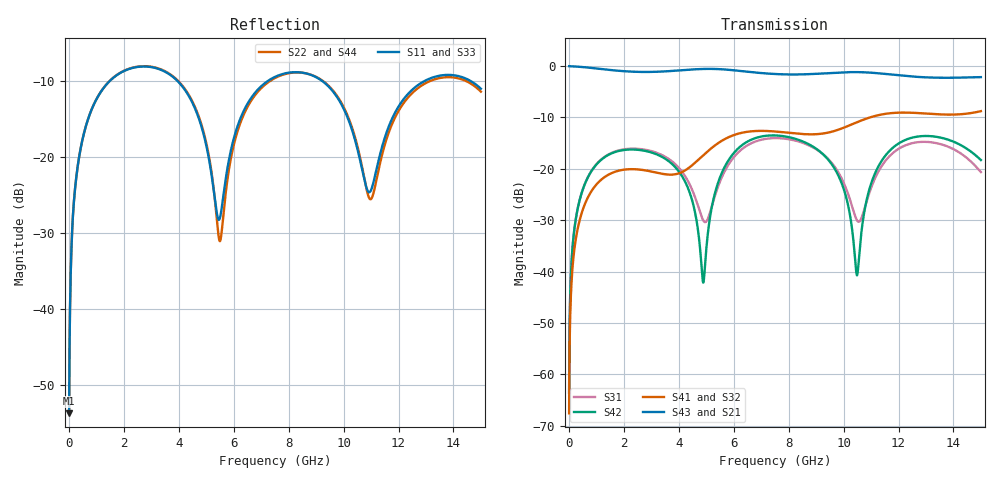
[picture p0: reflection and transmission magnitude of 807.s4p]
! Created with skrf 1.8.0 (http://scikit-rf.org).
# GHz S RI R 50.0
!freq ReS11 ImS11 ReS12 ImS12 ReS13 ImS13
! ReS14 ImS14
! ReS21 ImS21 ReS22 ImS22 ReS23 ImS23
! ReS24 ImS24
! ReS31 ImS31 ReS32 ImS32 ReS33 ImS33
! ReS34 ImS34
! ReS41 ImS41 ReS42 ImS42 ReS43 ImS43
! ReS44 ImS44
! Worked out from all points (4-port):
!   2499 points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, 5 MHz to 15 GHz, reference 50 ohm
!   strongest paths, dB at 5 MHz, 3.476 GHz, 7.19 GHz, 11.1 GHz, 15 GHz:
!     S43: 0.0, -1.0, -1.4, -1.3, -2.1
!     S21: 0.0, -1.0, -1.4, -1.3, -2.1
!     S41: -67.6, -21.0, -12.6, -9.8, -8.8
!     S32: -67.6, -21.1, -12.7, -9.8, -8.8
!     S42: -63.6, -17.9, -13.6, -21.5, -18.3
!     S31: -63.6, -17.6, -14.1, -22.4, -20.6
!   lowest |S11| = -53.7 dB at 5 MHz (marker M1), VSWR 1.00, Z = 50.2 + j0.125 ohm
!   |S11| at or under -10 dB: start of sweep to 1.493 GHz; 3.944 GHz to 7.253 GHz (3.309 GHz wide, 59.1 % of centre); 9.211 GHz to 12.96 GHz (3.753 GHz wide, 33.8 % of centre) (the widest 3 of 4)
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0.005  0.00164 0.00125  0.9983 -0.00319  8.26e-05 0.000656  -8.02e-05 -0.000411
       0.9983 -0.00319  0.00164 0.00125  -8.02e-05 -0.000411  8.25e-05 0.000656
       8.26e-05 0.000656  -8.02e-05 -0.000411  0.00164 0.00125  0.9983 -0.00319
       -8.02e-05 -0.000411  8.25e-05 0.000656  0.9983 -0.00319  0.00164 0.00125
0.3126303  0.024 0.0819  0.9672 -0.1986  0.0113 0.0389  -0.00925 -0.0241
           0.9672 -0.1986  0.0241 0.0819  -0.00924 -0.0241  0.0109 0.039
           0.0113 0.0389  -0.00924 -0.0241  0.024 0.0819  0.9672 -0.1986
           -0.00925 -0.0241  0.0109 0.039  0.9672 -0.1986  0.0241 0.0819
1.569404  0.2729 0.1778  0.5416 -0.7342  0.1318 0.0574  -0.0912 -0.00488
          0.5416 -0.7342  0.2746 0.1766  -0.091 -0.00515  0.1272 0.0638
          0.1318 0.0574  -0.091 -0.00515  0.273 0.1777  0.5417 -0.7342
          -0.0912 -0.00488  0.1272 0.0638  0.5417 -0.7342  0.2744 0.1767
4.889537  0.0779 -0.1208  -0.8556 -0.384  -0.0274 -0.0156  -0.0496 0.1263
          -0.8556 -0.384  0.0704 -0.1304  -0.053 0.1249  0.00762 0.00174
          -0.0274 -0.0156  -0.053 0.1249  0.0769 -0.1208  -0.8557 -0.384
          -0.0496 0.1263  0.00762 0.00174  -0.8557 -0.384  0.0709 -0.1297
8.541059  0.3527 -0.0516  0.0213 0.8313  0.1566 -0.0846  0.2022 -0.0813
          0.0213 0.8313  0.3529 -0.0475  0.2022 -0.0712  0.16 -0.0898
          0.1566 -0.0846  0.2022 -0.0712  0.3545 -0.0549  0.0209 0.8312
          0.2022 -0.0813  0.16 -0.0898  0.0209 0.8312  0.3514 -0.0437
10.48562  0.0794 -0.0847  0.7875 0.3788  -0.0304 -0.00885  0.1082 -0.2628
          0.7875 0.3788  0.0768 -0.0935  0.1235 -0.2559  -0.0092 2.34e-05
          -0.0304 -0.00885  0.1235 -0.2559  0.0743 -0.0866  0.7873 0.3794
          0.1082 -0.2628  -0.0092 2.34e-05  0.7873 0.3794  0.0813 -0.091
15  0.2544 -0.118  -0.3525 -0.6973  -0.0175 -0.0913  -0.3088 0.1933
    -0.3525 -0.6973  0.2453 -0.1088  -0.3232 0.1664  -0.0243 -0.1195
    -0.0175 -0.0913  -0.3232 0.1664  0.2531 -0.1244  -0.3504 -0.6979
    -0.3088 0.1933  -0.0243 -0.1195  -0.3504 -0.6979  0.2497 -0.1012
